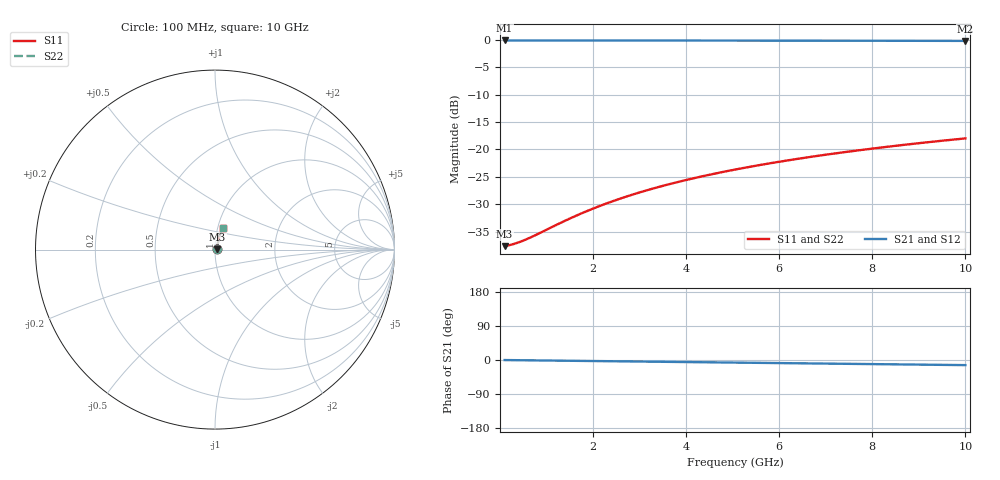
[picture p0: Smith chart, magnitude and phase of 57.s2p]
# Hz S RI R 50.00
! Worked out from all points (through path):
!   100 points, 100 MHz to 10 GHz, reference 50 ohm
!   highest |S21| = -0.11 dB at 100 MHz (marker M1); lowest = -0.2 dB at 10 GHz (marker M2)
!   group delay of S21, straight-line fit = 3.75 ps
!   lowest |S11| = -37.6 dB at 100 MHz (marker M3), VSWR 1.03, Z = 51.3 + j0.128 ohm
!   |S11| at or under -10 dB: start of sweep to end of sweep
!   |S22| runs from -37.6 to -18.0 dB; largest |S21 - S12| = 0
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1e8  0.0131 0.00124  0.9869 -0.00234  0.9869 -0.00234  0.0131 0.00124
2e8  0.0131 0.00248  0.9869 -0.00468  0.9869 -0.00468  0.0131 0.00248
3e8  0.0132 0.00373  0.9868 -0.00701  0.9868 -0.00701  0.0132 0.00373
4e8  0.0133 0.00497  0.9867 -0.00935  0.9867 -0.00935  0.0133 0.00497
6e8  0.0134 0.00745  0.9865 -0.014  0.9865 -0.014  0.0134 0.00745
8e8  0.0136 0.00993  0.9864 -0.0187  0.9864 -0.0187  0.0136 0.00993
1.4e9  0.0141 0.0174  0.9858 -0.0327  0.9858 -0.0327  0.0141 0.0174
1.8e9  0.0146 0.0223  0.9852 -0.042  0.9852 -0.042  0.0146 0.0223
2.2e9  0.0151 0.0272  0.9846 -0.0513  0.9846 -0.0513  0.0151 0.0272
2.6e9  0.0157 0.0321  0.9838 -0.0607  0.9838 -0.0607  0.0157 0.0321
3e9  0.0164 0.037  0.983 -0.0699  0.983 -0.0699  0.0164 0.037
3.4e9  0.0172 0.0419  0.982 -0.0792  0.982 -0.0792  0.0172 0.0419
3.8e9  0.0181 0.0468  0.981 -0.0885  0.981 -0.0885  0.0181 0.0468
4.2e9  0.0191 0.0517  0.9798 -0.0977  0.9798 -0.0977  0.0191 0.0517
4.6e9  0.0202 0.0565  0.9785 -0.1069  0.9785 -0.1069  0.0202 0.0565
5.1e9  0.0216 0.0625  0.9768 -0.1184  0.9768 -0.1184  0.0216 0.0625
5.9e9  0.0242 0.072  0.9736 -0.1367  0.9736 -0.1367  0.0242 0.072
6.7e9  0.0272 0.0814  0.97 -0.1549  0.97 -0.1549  0.0272 0.0814
7.5e9  0.0305 0.0906  0.966 -0.1729  0.966 -0.1729  0.0305 0.0906
8.4e9  0.0347 0.1009  0.961 -0.193  0.961 -0.193  0.0347 0.1009
9.2e9  0.0387 0.1098  0.9561 -0.2107  0.9561 -0.2107  0.0387 0.1098
1e10  0.0431 0.1186  0.9508 -0.2283  0.9508 -0.2283  0.0431 0.1186
